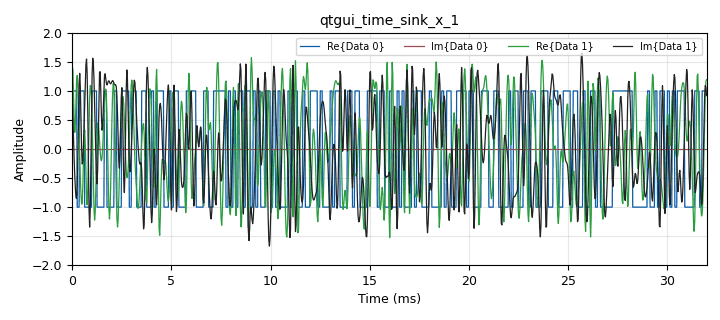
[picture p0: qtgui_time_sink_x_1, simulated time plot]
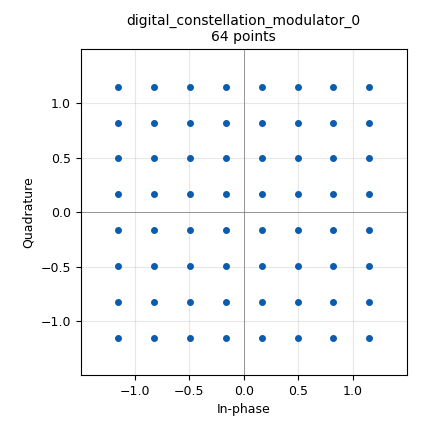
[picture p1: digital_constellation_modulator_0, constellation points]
options:
  parameters:
    generate_options: qt_gui
    id: QAM64
    output_language: python
    title: 64 QAM
  states: {}

blocks:
- name: M
  id: variable
  parameters:
    value: '64'
  states: {}
- name: QAM_64
  id: variable_constellation
  parameters:
    const_points: '[-7+7j, -5+7j, -3+7j, -1+7j,  1+7j,  3+7j,  5+7j,  7+7j, -7+5j, -5+5j, -3+5j, -1+5j,  1+5j,  3+5j,  5+5j,  7+5j, -7+3j, -5+3j, -3+3j, -1+3j,  1+3j,  3+3j,  5+3j,  7+3j, -7+1j, -5+1j, -3+1j, -1+1j,  1+1j,  3+1j,  5+1j,  7+1j, -7-1j, -5-1j, -3-1j, -1-1j,  1-1j,  3-1j,  5-1j,  7-1j, -7-3j, -5-3j, -3-3j, -1-3j,  1-3j,  3-3j,  5-3j,  7-3j, -7-5j, -5-5j, -3-5j, -1-5j,  1-5j,  3-5j,  5-5j,  7-5j, -7-7j, -5-7j, -3-7j, -1-7j,  1-7j,  3-7j,  5-7j,  7-7j]'
    dims: '1'
    normalization: digital.constellation.AMPLITUDE_NORMALIZATION
    npwr: '0.000'
    precision: '8'
    rot_sym: '4'
    sym_map: '[0, 1, 3, 2, 6, 7, 5, 4, 8, 9, 11, 10, 14, 15, 13, 12, 24, 25, 27, 26, 30, 31, 29, 28, 16, 17, 19, 18, 22, 23, 21, 20, 48, 49, 51, 50, 54, 55, 53, 52, 56, 57, 59, 58, 62, 63, 61, 60, 40, 41, 43, 42, 46, 47, 45, 44, 32, 33, 35, 34, 38, 39, 37, 36]'
    type: calcdist
  states: {}
- name: SNR
  id: variable
  parameters:
    value: '20'
  states: {}
- name: excess_bw
  id: variable
  parameters:
    value: '0.35'
  states: {}
- name: excess_bw
  id: variable_qtgui_range
  parameters:
    start: '0'
    step: '0.1'
    stop: '1'
    value: '0'
  states: {state: disabled}
- name: filename
  id: variable
  parameters:
    value: '"QAM_64"'
  states: {}
- name: freq_off_max
  id: variable
  parameters:
    value: +samp_rate/2
  states: {}
- name: freq_off_min
  id: variable
  parameters:
    value: '-samp_rate/2'
  states: {}
- name: freq_offset
  id: variable_qtgui_range
  parameters:
    comment: 0,2,1,1
    label: 'Channel: Frequency Offset'
    start: '-0.2'
    step: '0.001'
    stop: '0.2'
    value: '0.00'
    widget: eng_slider
  states: {state: disabled}
- name: freq_offset
  id: variable
  parameters:
    value: '1000'
  states: {}
- name: n_samples
  id: variable
  parameters:
    value: '1024'
  states: {}
- name: noise_volt
  id: variable_qtgui_range
  parameters:
    comment: 0,0,1,1
    label: 'Channel: Noise Voltage'
    start: '0'
    step: '0.01'
    stop: '1'
    value: '0.01'
  states: {state: disabled}
- name: noise_volt
  id: variable
  parameters:
    value: "(lambda x: signal_voltage / __import__('math').pow(10, x / 20))(SNR)\n\n\n\n\n\n"
  states: {}
- name: rrc_taps
  id: variable
  parameters:
    value: firdes.root_raised_cosine(1.0,samp_rate,samp_rate/sps,excess_bw,11*sps)
  states: {}
- name: samp_rate
  id: variable
  parameters:
    value: '32000'
  states: {}
- name: signal_voltage
  id: variable
  parameters:
    value: '1'
  states: {}
- name: sps
  id: variable
  parameters:
    value: '4'
  states: {}
- name: taps
  id: variable
  parameters:
    value: '[1.0 + 0.0j, ]'
  states: {}
- name: time_offset
  id: variable_qtgui_range
  parameters:
    comment: 0,1,1,1
    label: 'Channel: Timing Offset'
    start: '0.999'
    step: '0.0001'
    stop: '1.001'
    value: '1.0001'
  states: {}
- name: analog_random_source_x_0
  id: analog_random_source_x
  parameters:
    max: '256'
    min: '0'
    num_samps: '100000'
    repeat: 'True'
    type: byte
  states: {}
- name: analog_sig_source_x_0
  id: analog_sig_source_x
  parameters:
    amp: '1'
    freq: '1000'
    offset: '0'
    phase: '0'
    samp_rate: samp_rate
    type: byte
    waveform: analog.GR_SQR_WAVE
  states: {state: disabled}
- name: blocks_add_const_vxx_0
  id: blocks_add_const_vxx
  parameters:
    const: '-0.5'
    type: float
  states: {}
- name: blocks_char_to_float_0
  id: blocks_char_to_float
  parameters:
    scale: '1'
  states: {}
- name: blocks_char_to_float_0_0
  id: blocks_char_to_float
  parameters:
    scale: '1'
  states: {state: disabled}
- name: blocks_float_to_complex_0
  id: blocks_float_to_complex
  parameters: {}
  states: {}
- name: blocks_msgpair_to_var_0
  id: blocks_msgpair_to_var
  parameters:
    target: freq_offset
  states: {}
- name: blocks_multiply_const_vxx_0
  id: blocks_multiply_const_vxx
  parameters:
    const: '2'
    type: float
  states: {}
- name: blocks_repeat_0
  id: blocks_repeat
  parameters:
    interp: sps
    type: float
  states: {}
- name: blocks_rms_xx_0
  id: blocks_rms_xx
  parameters:
    alpha: '0.0001'
    type: complex
  states: {}
- name: blocks_throttle2_0
  id: blocks_throttle2
  parameters:
    samples_per_second: samp_rate
    type: complex
  states: {}
- name: blocks_uchar_to_float_0
  id: blocks_uchar_to_float
  parameters: {}
  states: {state: disabled}
- name: blocks_unpack_k_bits_bb_0
  id: blocks_unpack_k_bits_bb
  parameters:
    k: '8'
  states: {}
- name: channels_channel_model_0
  id: channels_channel_model
  parameters:
    epsilon: time_offset
    freq_offset: freq_offset
    noise_voltage: noise_volt
    seed: '0'
    taps: taps
  states: {}
- name: custom_file_writer_0
  id: custom_file_writer
  parameters:
    filename: '"output.dat"'
    freq_offset: '0.0'
    modulation_scheme: '"BPSK"'
    num_samples: '1024'
    snr: '10.0'
  states: {state: disabled}
- name: digital_constellation_modulator_0
  id: digital_constellation_modulator
  parameters:
    constellation: QAM_64
    differential: 'True'
    excess_bw: excess_bw
    samples_per_symbol: sps
  states: {}
- name: epy_block_0
  id: epy_block
  parameters:
    _source_code: "import numpy as np\nfrom gnuradio import gr\n\nclass custom_file_writer(gr.sync_block):\n    def __init__(self, filename='output.dat', num_samples=1024):\n        gr.sync_block.__init__(self, name=\"custom_file_writer\", in_sig=[np.complex64], out_sig=None)\n        self.counter = 0\n        self.samples_per_file = num_samples\n        self.filename = filename\n\n        # Create message port for enabling writing\n        self.message_port_register_in(gr.pmt.intern(\"enable_write\"))\n        self.set_msg_handler(gr.pmt.intern(\"enable_write\"), self.handle_message)\n\n        # Buffer to hold incoming data\n        self.buffer = []\n\n    def handle_message(self, msg):\n        # Check if the message is a boolean 'true' (1)\n        if gr.pmt.is_true(msg):\n            self.write_to_file()\n\n    def write_to_file(self):\n        # Check if there are enough samples in the buffer\n        if len(self.buffer) < self.samples_per_file:\n            return  # Not enough data to write\n\n        # Write the specified number of samples to a file\n        filename = f\"{self.filename}_{self.counter}.dat\"\n        with open(filename, 'ab') as f:\n            # Write the first `num_samples` samples to the file\n            f.write(np.array(self.buffer[:self.samples_per_file]).tobytes())\n        \n        # Remove written samples from buffer\n        self.buffer = self.buffer[self.samples_per_file:]  \n        \n        self.counter += 1\n\n    def work(self, input_items, output_items):\n        # Append incoming samples to the buffer\n        self.buffer.extend(input_items[0])  # Add new samples to the buffer\n        return len(input_items[0])  # Return the number of samples processed\n\n"
    filename: filename
    num_samples: n_samples
  states: {state: disabled}
- name: epy_block_0_0
  id: epy_block
  parameters:
    _source_code: |
      import numpy as np
      from gnuradio import gr
      import pmt
      import logging
      class blk(gr.sync_block):
          """Random Number Generator"""
          def __init__(self, min_val=0, max_val=1):
              gr.sync_block.__init__(
                  self,
                  name='Random Number Generator',
                  in_sig=None,
                  out_sig=None)
              
              self.min_val = float(min_val)
              self.max_val = float(max_val)
              
              # Message ports
              self.message_port_register_in(pmt.intern('trigger'))
              self.message_port_register_out(pmt.intern('rand_out'))
              self.set_msg_handler(pmt.intern('trigger'), self.handle_trigger)
              
              # Setup logging
              logging.basicConfig(level=logging.INFO)
              self.logger = logging.getLogger("random_num_gen")
          
          def set_min_val(self, min_val):
              """Callback to update minimum value"""
              self.min_val = float(min_val)
              
          def set_max_val(self, max_val):
              """Callback to update maximum value"""
              self.max_val = float(max_val)
              
          def handle_trigger(self, msg):
              # Generate new random number
              rand_num = np.random.uniform(self.min_val, self.max_val)
              
              # Create message
              #msg = pmt.from_double(rand_num)
              msg = pmt.cons(pmt.PMT_NIL, pmt.from_double(rand_num))
              # Send the message
              self.message_port_pub(pmt.intern('rand_out'), msg)
              
              # Log
              self.logger.info(f"Sending random number: {rand_num}")

          def work(self, input_items, output_items):
              return 0
    max_val: freq_off_max
    min_val: freq_off_min
  states: {}
- name: epy_block_1
  id: epy_block
  parameters:
    _source_code: |
      """
      Embedded Python Block for Custom File Writer
      """

      import numpy as np
      from gnuradio import gr
      import pmt
      from collections import deque
      import logging
      import os

      class blk(gr.sync_block):
          def __init__(self, filename='output', num_samples=2048,
                   modulation_scheme="AM", snr=10000.0, freq_offset=1000.0, max_files=500):
              gr.sync_block.__init__(
                  self,
                  name='Custom File Writer',
                  in_sig=[np.complex64],
                  out_sig=None)

              # Register message ports
              self.message_port_register_in(pmt.intern("enable_write"))
              self.set_msg_handler(pmt.intern("enable_write"), self.handle_message)
              # Add output message port for write signal
              self.message_port_register_out(pmt.intern("write"))
          
              # Parameters
              self._last_snr = None
              self._last_freq_offset = None
              self.snr = float(snr)
              self.freq_offset = float(freq_offset)
              self.counter = 0
              self.samples_per_file = int(num_samples)
              self.base_filename = str(filename)
              self.modulation_scheme = str(modulation_scheme)
              self.max_files = int(max_files)
              self.buffer = deque()
              self.done = False
              self.enable_write = False
              
              # Setup logging
              logging.basicConfig(level=logging.INFO)
              self.logger = logging.getLogger("custom_file_writer")
              
              # Setup initial directory
              self.setup_directory()
              
              self.logger.info(f"Initialized with SNR={self.snr}, freq_offset={self.freq_offset}")

          def set_snr(self, snr):
              """SNR parameter callback"""
              self.snr = float(snr)
              self.logger.info(f"SNR changed to: {self.snr}")
              self.check_parameters()

          def set_freq_offset(self, freq_offset):
              """Frequency offset parameter callback"""
              self.freq_offset = float(freq_offset)
              self.logger.info(f"Frequency offset changed to: {self.freq_offset}")
              self.check_parameters()

          def check_parameters(self):
              """Check if parameters have changed"""
              if (self._last_snr != self.snr) or (self._last_freq_offset != self.freq_offset):
                  self.logger.info(f"New parameter combination detected - SNR: {self.snr}, Freq Offset: {self.freq_offset}")
                  self._last_snr = self.snr
                  self._last_freq_offset = self.freq_offset
                  self.counter = 0
                  self.done = False
                  self.setup_directory()
                  return True
              return False

          def setup_directory(self):
              """Create directory for current parameters"""
              # Remove freq_offset from directory name since it changes for each file
              self.dir_name = f"mod_{self.modulation_scheme}_snr_{self.snr}"
              if not os.path.exists(self.dir_name):
                  os.makedirs(self.dir_name)
              self.filename = os.path.join(self.dir_name, self.base_filename)
              self.logger.info(f"Created directory: {self.dir_name}")
      	    
          def write_metadata_file(self, filename):
              """Write metadata file with current parameters"""
              meta_filename = filename.replace(".dat", ".txt")
              try:
                  with open(meta_filename, 'w') as meta_file:
                      meta_file.write(f"Modulation Scheme = {self.modulation_scheme}\n")
                      meta_file.write(f"Signal to Noise Ratio = {self.snr} dB\n")
                      meta_file.write(f"Frequency Offset = {self.freq_offset} Hz\n")
                      meta_file.write(f"Number of Samples = {self.samples_per_file}\n")
                      meta_file.write(f"File Number = {self.counter + 1} of {self.max_files}\n")
              except IOError as e:
                  self.logger.error(f"Failed to write metadata file: {e}")
       
          def handle_message(self, msg):
              """Handle enable_write messages"""
              try:
                  if pmt.is_pair(msg):
                      value = pmt.to_python(pmt.cdr(msg))
                  elif pmt.is_bool(msg):
                      value = pmt.to_python(msg)
                  else:
                      value = bool(pmt.to_python(msg))
                  
                  self.enable_write = value
                  
                  if self.enable_write:
                      # Always check parameters when writing is enabled
                      self.check_parameters()
                      if not self.done:
                          self.write_to_file()
                      else:
                          self.logger.info(f"Already completed {self.max_files} files for current parameters")
              except Exception as e:
                  self.logger.error(f"Error in message handler: {e}")

          def write_to_file(self):
              """Write samples to file"""
              if self.done or not self.enable_write:
                  return
                  
              if len(self.buffer) < self.samples_per_file:
                  self.logger.warning(f"Buffer contains only {len(self.buffer)} samples, need {self.samples_per_file}")
                  return
                  
              
              
              filename = f"{self.filename}_{self.counter}.dat"
              try:
                  with open(filename, 'wb') as f:
                      samples_to_write = list(self.buffer)[:self.samples_per_file]
                      f.write(np.array(samples_to_write, dtype=np.complex64).tobytes())
                  
                  self.write_metadata_file(filename)
                  
                  
                  self.buffer.clear()
                  
                  # Send write trigger message before writing file
                  self.message_port_pub(pmt.intern("write"), pmt.to_pmt("trigger"))
                  
                  #for _ in range(self.samples_per_file):
                  #    self.buffer.popleft()
                      
                  self.counter += 1
                  self.logger.info(f"Writing to {self.dir_name}: File {self.counter} of {self.max_files}")
                  
                  if self.counter >= self.max_files:
                      self.done = True
                      self.enable_write = False
                      self.logger.info(f"Completed generating {self.max_files} files for {self.dir_name}")
              except IOError as e:
                  self.logger.error(f"Failed to write data file: {e}")

          def work(self, input_items, output_items):
              """Process incoming samples"""
              if self.done:
                  return len(input_items[0])
                  
              self.buffer.extend(input_items[0])
              
              if len(self.buffer) >= self.samples_per_file and self.enable_write and not self.done:
                  self.write_to_file()
                  
              return len(input_items[0])
    filename: '"output"'
    freq_offset: freq_offset
    max_files: '100'
    modulation_scheme: '"64QAM"'
    num_samples: '2048'
    snr: SNR
  states: {}
- name: id_write_button_0
  id: variable_qtgui_msg_push_button
  parameters:
    label: write
    msgName: pressed
    type: bool
    value: '1'
  states: {state: disabled}
- name: id_write_button_0_0
  id: variable_qtgui_msg_push_button
  parameters:
    msgName: pressed
    type: real
    value: freq_offset
  states: {}
- name: qtgui_const_sink_x_0
  id: qtgui_const_sink_x
  parameters:
    size: 1024*4*2
    type: complex
  states: {state: disabled}
- name: qtgui_eye_sink_x_0
  id: qtgui_eye_sink_x
  parameters:
    samp_per_symbol: sps
    size: '4096'
    srate: samp_rate
    type: complex
  states: {state: disabled}
- name: qtgui_freq_sink_x_0
  id: qtgui_freq_sink_x
  parameters:
    bw: samp_rate
    fc: '0'
    fftsize: '1024'
    gui_hint: 1,2,1,2
    type: complex
  states: {}
- name: qtgui_number_sink_0
  id: qtgui_number_sink
  parameters:
    graph_type: qtgui.NUM_GRAPH_HORIZ
    type: float
  states: {}
- name: qtgui_time_sink_x_0
  id: qtgui_time_sink_x
  parameters:
    entags: 'False'
    gui_hint: 1,0,1,2
    size: '1024'
    srate: samp_rate
    type: complex
    ymax: '2'
    ymin: '-2'
  states: {state: disabled}
- name: qtgui_time_sink_x_1
  id: qtgui_time_sink_x
  parameters:
    nconnections: '2'
    size: '1024'
    srate: samp_rate
    type: complex
    ymax: '2'
    ymin: '-2'
  states: {}
- name: qtgui_time_sink_x_2
  id: qtgui_time_sink_x
  parameters:
    size: '1024'
    srate: samp_rate
    type: float
  states: {state: disabled}
- name: qtgui_waterfall_sink_x_0
  id: qtgui_waterfall_sink_x
  parameters:
    bw: samp_rate
    fc: '0'
    fftsize: '1024'
    type: complex
  states: {state: disabled}

connections:
- [analog_random_source_x_0, '0', blocks_char_to_float_0_0, '0']
- [analog_random_source_x_0, '0', blocks_unpack_k_bits_bb_0, '0']
- [analog_random_source_x_0, '0', digital_constellation_modulator_0, '0']
- [analog_sig_source_x_0, '0', blocks_char_to_float_0, '0']
- [analog_sig_source_x_0, '0', digital_constellation_modulator_0, '0']
- [blocks_add_const_vxx_0, '0', blocks_multiply_const_vxx_0, '0']
- [blocks_char_to_float_0, '0', blocks_add_const_vxx_0, '0']
- [blocks_char_to_float_0_0, '0', qtgui_time_sink_x_2, '0']
- [blocks_float_to_complex_0, '0', qtgui_time_sink_x_1, '0']
- [blocks_multiply_const_vxx_0, '0', blocks_repeat_0, '0']
- [blocks_repeat_0, '0', blocks_float_to_complex_0, '0']
- [blocks_rms_xx_0, '0', qtgui_number_sink_0, '0']
- [blocks_throttle2_0, '0', blocks_rms_xx_0, '0']
- [blocks_throttle2_0, '0', channels_channel_model_0, '0']
- [blocks_throttle2_0, '0', qtgui_const_sink_x_0, '0']
- [blocks_throttle2_0, '0', qtgui_eye_sink_x_0, '0']
- [blocks_throttle2_0, '0', qtgui_time_sink_x_1, '1']
- [blocks_uchar_to_float_0, '0', blocks_add_const_vxx_0, '0']
- [blocks_unpack_k_bits_bb_0, '0', blocks_char_to_float_0, '0']
- [blocks_unpack_k_bits_bb_0, '0', blocks_uchar_to_float_0, '0']
- [channels_channel_model_0, '0', custom_file_writer_0, '0']
- [channels_channel_model_0, '0', epy_block_0, '0']
- [channels_channel_model_0, '0', epy_block_1, '0']
- [channels_channel_model_0, '0', qtgui_freq_sink_x_0, '0']
- [channels_channel_model_0, '0', qtgui_time_sink_x_0, '0']
- [channels_channel_model_0, '0', qtgui_waterfall_sink_x_0, '0']
- [digital_constellation_modulator_0, '0', blocks_throttle2_0, '0']
- [epy_block_0_0, rand_out, blocks_msgpair_to_var_0, inpair]
- [epy_block_1, write, epy_block_0_0, trigger]
- [id_write_button_0, pressed, epy_block_0, enable_write]
- [id_write_button_0_0, pressed, epy_block_1, enable_write]

metadata:
  file_format: 1
  grc_version: 3.10.9.2
